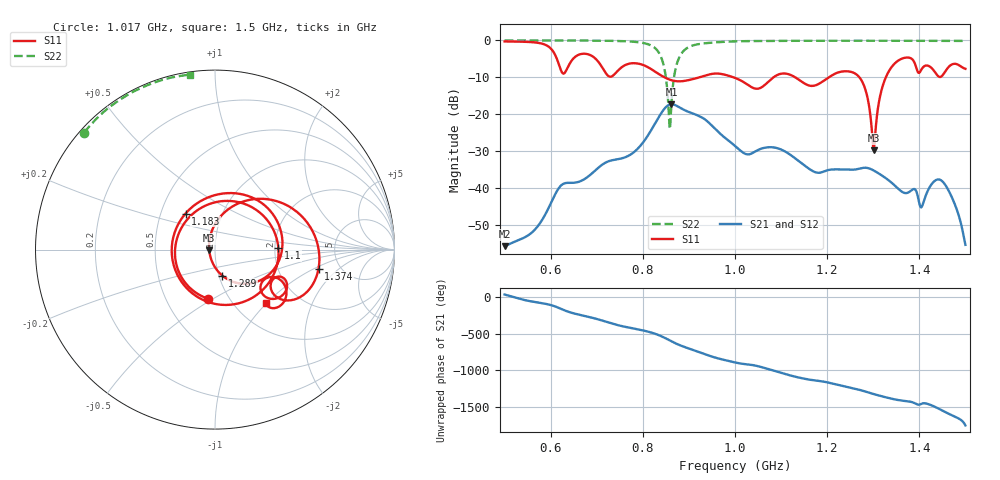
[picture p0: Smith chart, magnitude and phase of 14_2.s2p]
! TOUCHSTONE file generated by CST MICROWAVE STUDIO
! Date and time: Mon Nov 30 09:07:36 2020
! Project name: Scenario_1_Planar_Body_Tissue_Out_of_Line_v2.cst
! Parameters = {dy1=-121.1; L_HA=400; Ltissue=700; MT=2.54; Rad_Dielectric=30; Rad_Lower=7.3; Rad_Upper=30; Wtissue=700; a_HA=580; a_WG=246; b_HA=500; b_WG=121; c_HA=0; c_WG=187; d_feed=85; dx1=346; h_feed=15; h_lower=18; h_upper=40; hfat=3; hgap=25; hmuscle=50; hskin=1.5}
! Header version: 2018
! Port assignment regex: !\s*Touchstone port\s*([0-9]+)\s*=\s*(CST MWS port|CST DS port)\s*([0-9]+|Zmin|Zmax)\s*\(\"(.*)\"\)(\s*mode\s*([0-9]+))?.*
! Touchstone port assignment:
! Touchstone port 1 = CST MWS port 1 ("")
! Touchstone port 2 = CST MWS port 2 ("")
# GHz S DB R 50
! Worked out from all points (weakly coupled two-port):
!   1003 points, 500 MHz to 1.5 GHz, reference 50 ohm
!   highest |S21| = -17.34 dB at 862 MHz (marker M1); lowest = -55.9 dB at 500 MHz (marker M2)
!   lowest |S11| = -29.8 dB at 1.301 GHz (marker M3), VSWR 1.07, Z = 46.9 - j0.292 ohm
!   |S11| at or under -10 dB: 846.7 MHz to 923.5 MHz (76.73 MHz wide, 8.67 % of centre); 996.3 MHz to 1.084 GHz (87.43 MHz wide, 8.41 % of centre); 1.13 GHz to 1.204 GHz (73.49 MHz wide, 6.3 % of centre)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
!   |S22| runs from -24.1 to 0.0 dB; largest |S21 - S12| = 9.7e-05
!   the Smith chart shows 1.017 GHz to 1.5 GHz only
!   S11 on the Smith chart (normalised r, x): 1.017 GHz: 0.80, -0.47; 1.1 GHz: 2.09, +0.05; 1.183 GHz: 0.67, +0.29; 1.289 GHz: 1.04, -0.31; 1.374 GHz: 3.45, -1.11; 1.5 GHz: 1.39, -0.99
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0.5  -0.28 -121.8  -55.87 31.2  -55.87 31.2  -0.01 151.1
0.667  -3.66 157.5  -38.09 108.9  -38.09 108.9  -0.04 138.4
0.695  -4.71 101.7  -35.50 66.9  -35.50 66.9  -0.06 135.4
0.717  -8.38 25.2  -33.32 26.1  -33.32 26.1  -0.09 132.7
0.741  -8.86 -96.6  -32.36 -18.6  -32.36 -18.6  -0.14 129.1
0.77  -6.32 175.1  -31.25 -59.7  -31.25 -59.7  -0.27 123.2
0.834  -9.08 32.8  -20.95 -160.9  -20.95 -160.9  -3.17 84.8
0.862  -10.79 -41.9  -17.34 113.6  -17.34 113.6  -17.21 -118.5
0.889  -11.02 -128.1  -18.84 39.8  -18.84 39.8  -2.77 178.0
0.939  -9.42 83.7  -21.87 -72.3  -21.87 -72.3  -0.72 151.6
1  -10.17 -56.5  -28.65 -174.5  -28.65 -174.5  -0.25 140.5
1.017  -11.19 -98.4  -30.41 166.3  -30.41 166.3  -0.20 138.2
1.1  -9.04 1.6  -29.62 43.6  -29.62 43.6  -0.12 129.7
1.167  -12.36 175.8  -35.36 -54.1  -35.36 -54.1  -0.10 124.2
1.183  -11.72 129.2  -35.94 -66.9  -35.94 -66.9  -0.10 123.0
1.244  -8.39 12.8  -35.06 -149.5  -35.06 -149.5  -0.08 118.4
1.289  -16.41 -74.1  -34.68 137.2  -34.68 137.2  -0.09 115.0
1.301  -29.78 -174.5  -35.32 114.4  -35.32 114.4  -0.09 114.1
1.334  -8.35 47.8  -38.04 60.0  -38.04 60.0  -0.08 111.6
1.374  -4.64 -10.4  -41.40 17.5  -41.40 17.5  -0.09 108.5
1.449  -9.67 -28.8  -38.15 -107.8  -38.15 -107.8  -0.11 102.4
1.5  -7.70 -45.9  -55.50 46.7  -55.50 46.7  -0.13 98.0
